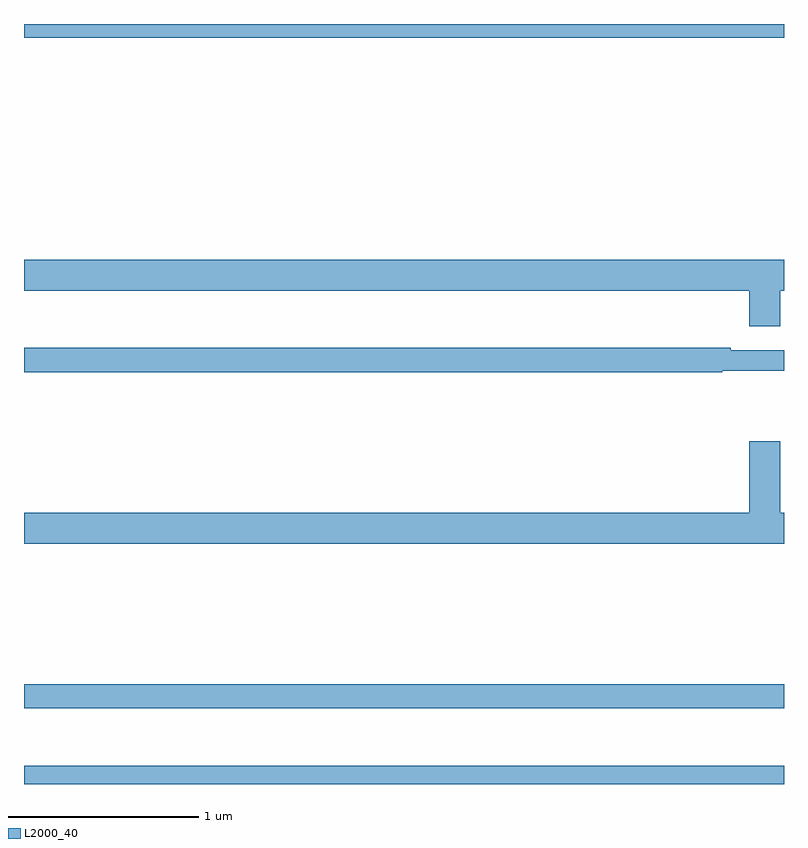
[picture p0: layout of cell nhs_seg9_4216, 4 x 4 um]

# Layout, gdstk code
import gdstk
lib = gdstk.Library(unit=1e-6, precision=1e-09)
def R(c, l, rs):  # rectangles x0, y0, x1, y1
    for r in rs: c.add(gdstk.rectangle(r[:2], r[2:], *l))
def P(c, l, *ps):  # polygons
    for p in ps: c.add(gdstk.Polygon(p, *l))
L2000_40 = (2000, 40)

nhs_seg9_4216 = lib.new_cell('nhs_seg9_4216')
R(nhs_seg9_4216, L2000_40, [(353,1184.5,357,1184.596), (353,1184.898,357,1185.026), (353,1188.428,357,1188.5)])
P(nhs_seg9_4216, L2000_40, [(356.98,1187.096),(357,1187.096),(357,1187.26),(353,1187.26),(353,1187.096),(356.816,1187.096),(356.816,1186.908),(356.98,1186.908)],
  [(356.676,1186.674),(357,1186.674),(357,1186.782),(356.72,1186.782),(356.72,1186.795),(353,1186.795),(353,1186.666),(356.676,1186.666)],
  [(357,1185.928),(356.98,1185.928),(356.98,1186.303),(356.816,1186.303),(356.816,1185.928),(353,1185.928),(353,1185.764),(357,1185.764)])

lib.write_gds('nhs_seg9_4216.gds')
